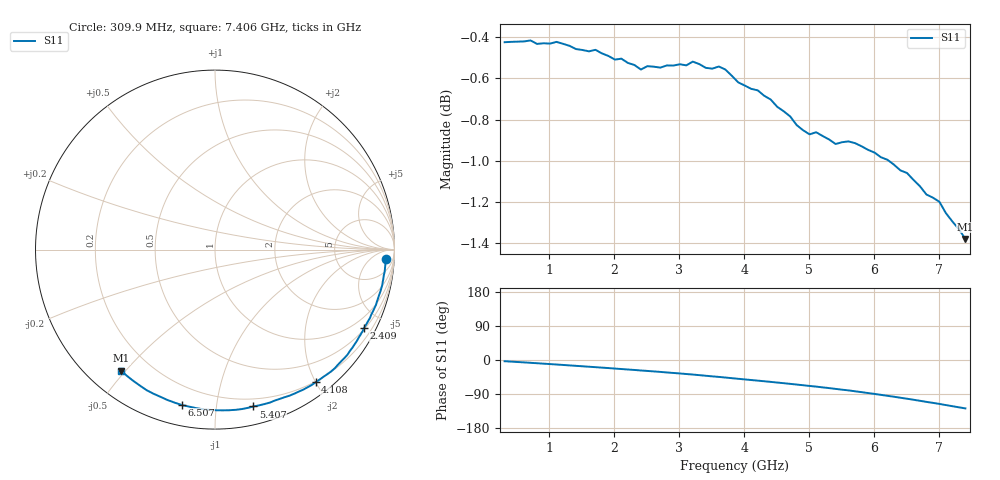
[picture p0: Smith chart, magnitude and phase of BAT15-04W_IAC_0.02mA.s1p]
! Infineon Technologies  Discrete & RF Semiconductors
! BAT15-04W-E6327
! IAC = 0.02 mA
! One-Port S-Parameters
# Hz  S  MA  R  50
!f  S11
!Hz  Mag  Ang
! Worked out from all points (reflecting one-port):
!   72 points, 309.9 MHz to 7.406 GHz, reference 50 ohm
!   lowest |S11| = -1.4 dB at 7.406 GHz (marker M1), VSWR 12.61, Z = 4.91 - j24.3 ohm
!   phase of S11 starts at -3 deg and turns -125 deg over the sweep
!   S11 on the Smith chart (normalised r, x): 309.9 MHz: 18, -20; 2.409 GHz: 0.55, -3.99; 4.108 GHz: 0.19, -2.00; 5.407 GHz: 0.14, -1.26; 6.507 GHz: 0.10, -0.80; 7.406 GHz: 0.10, -0.49
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3.0985e8  0.9524 -3.2
7.0965e8  0.9533 -7.4
1.2094e9  0.9515 -13.1
1.70915e9  0.9483 -19.0
2.10895e9  0.9436 -23.8
2.4088e9  0.9379 -27.7
2.50875e9  0.9397 -28.8
3.0085e9  0.9407 -35.5
3.2084e9  0.9421 -38.4
3.6082e9  0.9395 -44.6
3.90805e9  0.9312 -49.6
4.10795e9  0.9278 -52.8
4.4078e9  0.9223 -57.8
4.70765e9  0.9136 -63.0
4.8076e9  0.9092 -64.8
5.10745e9  0.9056 -70.2
5.4073e9  0.8996 -76.3
5.6072e9  0.901 -80.3
5.70715e9  0.9001 -82.5
5.90705e9  0.8967 -87.2
6.10695e9  0.893 -92.0
6.30685e9  0.8893 -97.0
6.50675e9  0.8852 -102.2
6.6067e9  0.8818 -104.9
6.8066e9  0.8746 -110.5
7.0065e9  0.871 -115.9
7.2064e9  0.8615 -121.9
7.4063e9  0.8531 -127.7
